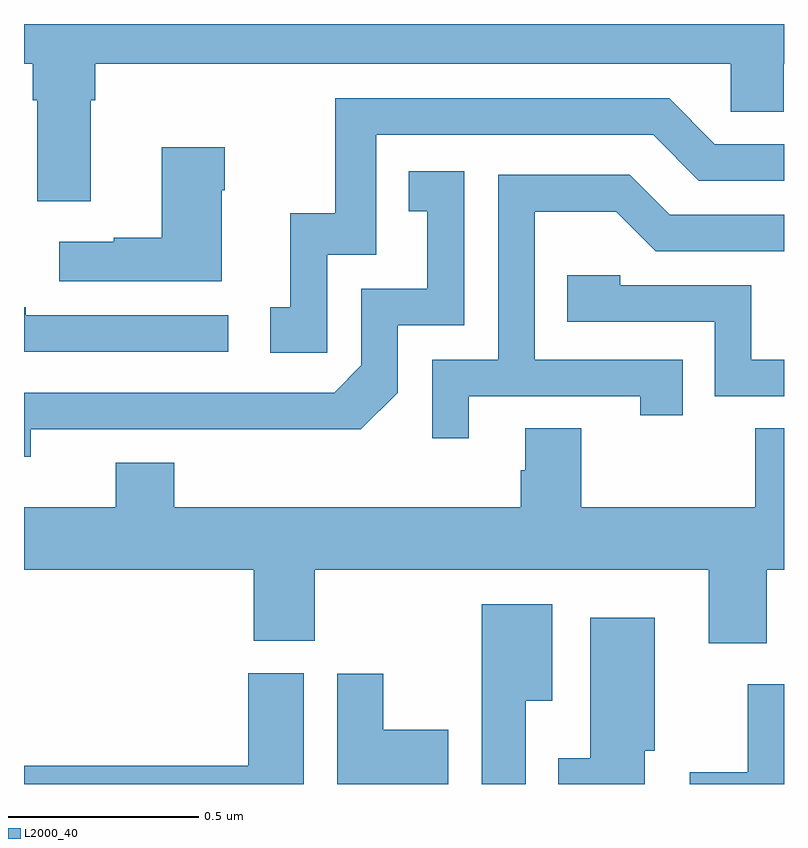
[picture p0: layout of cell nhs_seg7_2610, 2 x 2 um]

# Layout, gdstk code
import gdstk
lib = gdstk.Library(unit=1e-6, precision=1e-09)
def P(c, l, *ps):  # polygons
    for p in ps: c.add(gdstk.Polygon(p, *l))
L2000_40 = (2000, 40)

nhs_seg7_2610 = lib.new_cell('nhs_seg7_2610')
P(nhs_seg7_2610, L2000_40, [(147.175,1053.8),(147.188,1053.8),(147.188,1053.896),(148.86,1053.896),(148.86,1053.769),(148.999,1053.769),(148.999,1053.896),(149,1053.896),(149,1054),(147,1054),(147,1053.896),(147.023,1053.896),(147.023,1053.8),(147.035,1053.8),(147.035,1053.534),(147.175,1053.534)],
  [(147.798,1053.393),(147.927,1053.393),(147.927,1053.708),(148.656,1053.708),(148.776,1053.588),(149,1053.588),(149,1053.684),(148.818,1053.684),(148.698,1053.804),(147.819,1053.804),(147.819,1053.502),(147.701,1053.502),(147.701,1053.255),(147.648,1053.255),(147.648,1053.135),(147.798,1053.135)],
  [(147.52,1053.563),(147.528,1053.563),(147.528,1053.676),(147.362,1053.676),(147.362,1053.437),(147.236,1053.437),(147.236,1053.427),(147.093,1053.427),(147.093,1053.323),(147.52,1053.323)],
  [(147.018,1052.934),(147.478,1052.934),(147.478,1052.933),(147.886,1052.933),(147.984,1053.03),(147.984,1053.207),(148.158,1053.207),(148.158,1053.613),(148.012,1053.613),(148.012,1053.507),(148.061,1053.507),(148.061,1053.303),(147.888,1053.303),(147.888,1053.102),(147.816,1053.03),(147,1053.03),(147,1052.861),(147.018,1052.861)],
  [(148.171,1053.021),(148.622,1053.021),(148.622,1052.97),(148.733,1052.97),(148.733,1053.117),(148.344,1053.117),(148.344,1053.506),(148.558,1053.506),(148.662,1053.402),(149,1053.402),(149,1053.498),(148.699,1053.498),(148.594,1053.603),(148.248,1053.603),(148.248,1053.117),(148.074,1053.117),(148.074,1052.91),(148.171,1052.91)],
  [(149,1053.117),(148.914,1053.117),(148.914,1053.312),(148.569,1053.312),(148.569,1053.339),(148.429,1053.339),(148.429,1053.216),(148.818,1053.216),(148.818,1053.021),(149,1053.021)],
  [(147.538,1053.234),(147.005,1053.234),(147.005,1053.254),(147,1053.254),(147,1053.138),(147.538,1053.138)],
  [(148.955,1052.564),(149,1052.564),(149,1052.936),(148.924,1052.936),(148.924,1052.728),(148.467,1052.728),(148.467,1052.936),(148.319,1052.936),(148.319,1052.826),(148.307,1052.826),(148.307,1052.728),(147.395,1052.728),(147.395,1052.845),(147.242,1052.845),(147.242,1052.728),(147,1052.728),(147,1052.564),(147.605,1052.564),(147.605,1052.377),(147.765,1052.377),(147.765,1052.564),(148.802,1052.564),(148.802,1052.37),(148.955,1052.37)],
  [(148.321,1052.219),(148.39,1052.219),(148.39,1052.473),(148.205,1052.473),(148.205,1052),(148.321,1052)],
  [(148.633,1052.088),(148.66,1052.088),(148.66,1052.437),(148.49,1052.437),(148.49,1052.068),(148.406,1052.068),(148.406,1052),(148.633,1052)],
  [(147.736,1052.292),(147.59,1052.292),(147.59,1052.048),(147,1052.048),(147,1052),(147.736,1052)],
  [(148.117,1052.143),(147.946,1052.143),(147.946,1052.29),(147.824,1052.29),(147.824,1052),(148.117,1052)],
  [(149,1052.263),(148.904,1052.263),(148.904,1052.031),(148.752,1052.031),(148.752,1052),(149,1052)])

lib.write_gds('nhs_seg7_2610.gds')
